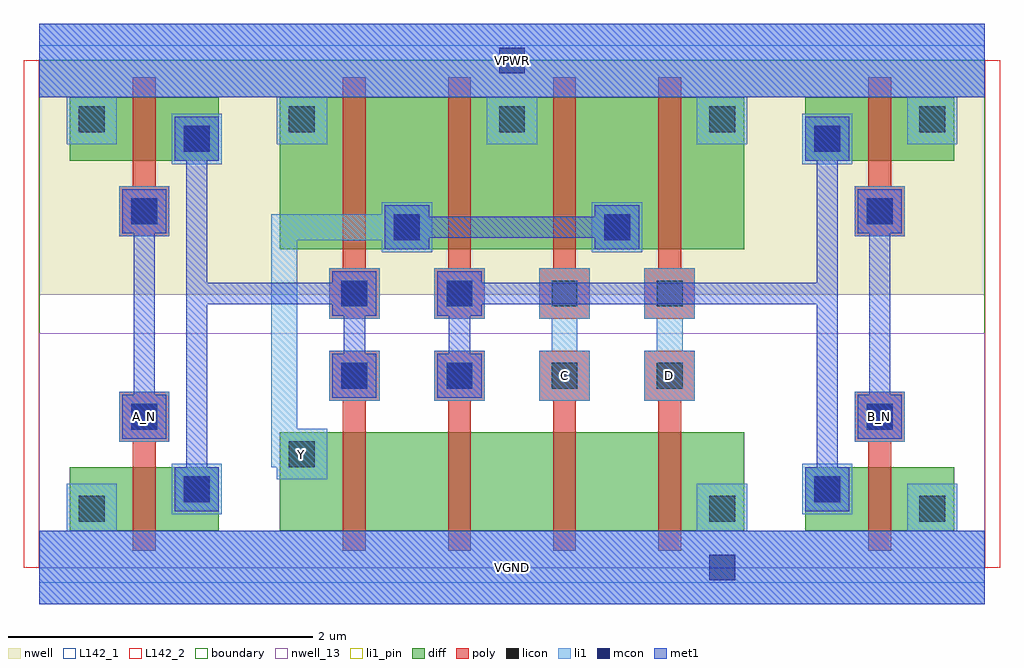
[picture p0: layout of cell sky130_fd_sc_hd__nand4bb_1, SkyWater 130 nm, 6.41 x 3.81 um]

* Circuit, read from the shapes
.subckt sky130_fd_sc_hd__nand4bb_1 A_N B_N C D VGND VPWR Y
XM1 n1 A_N VGND VSUBS sky130_fd_pr__nfet_01v8 w=0.42 l=0.15
XM2 n2 n1 Y VSUBS sky130_fd_pr__nfet_01v8 w=0.65 l=0.15
XM3 n3 n4 n2 VSUBS sky130_fd_pr__nfet_01v8 w=0.65 l=0.15
XM4 n5 C n3 VSUBS sky130_fd_pr__nfet_01v8 w=0.65 l=0.15
XM5 VGND D n5 VSUBS sky130_fd_pr__nfet_01v8 w=0.65 l=0.15
XM6 VGND B_N n4 VSUBS sky130_fd_pr__nfet_01v8 w=0.42 l=0.15
XM7 n1 A_N VPWR n6 sky130_fd_pr__pfet_01v8 w=0.42 l=0.15
XM8 Y n1 VPWR n6 sky130_fd_pr__pfet_01v8 w=1 l=0.15
XM9 VPWR n4 Y n6 sky130_fd_pr__pfet_01v8 w=1 l=0.15
XM10 Y C VPWR n6 sky130_fd_pr__pfet_01v8 w=1 l=0.15
XM11 VPWR D Y n6 sky130_fd_pr__pfet_01v8 w=1 l=0.15
XM12 VPWR B_N n4 n6 sky130_fd_pr__pfet_01v8 w=0.42 l=0.15
.ends

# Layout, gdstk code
import gdstk
lib = gdstk.Library(unit=1e-6, precision=1e-09)
def R(c, l, rs):  # rectangles x0, y0, x1, y1
    for r in rs: c.add(gdstk.rectangle(r[:2], r[2:], *l))
def A(c, l, x, y, w, h, nx, ny, dx, dy):  # array of equal rectangles
    R(c, l, [(x+i*dx, y+j*dy, x+i*dx+w, y+j*dy+h) for i in range(nx) for j in range(ny)])
def P(c, l, *ps):  # polygons
    for p in ps: c.add(gdstk.Polygon(p, *l))
nwell_13 = (64, 13)
nwell = (64, 20)
diff = (65, 20)
poly = (66, 20)
licon = (66, 44)
li1_pin = (67, 16)
li1 = (67, 20)
mcon = (67, 44)
met1 = (68, 20)
L142_1 = (142, 1)
L142_2 = (142, 2)
boundary = (235, 4)

sky130_fd_sc_hd__nand4bb = lib.new_cell('sky130_fd_sc_hd__nand4bb_1')
R(sky130_fd_sc_hd__nand4bb, nwell_13, [(0,0,6.21,1.54)])
R(sky130_fd_sc_hd__nand4bb, nwell, [(0,1.79,6.21,3.33)])
A(sky130_fd_sc_hd__nand4bb, diff, 1.995, 0.24, 0.69, 0.65, 3, 1, 0.69, 0)
A(sky130_fd_sc_hd__nand4bb, diff, 1.995, 2.09, 0.69, 1, 3, 1, 0.69, 0)
R(sky130_fd_sc_hd__nand4bb, diff, [(0.2,0.24,1.18,0.66), (0.2,0.24,0.615,0.66), (0.615,0.24,1.18,0.66), (1.58,0.24,4.63,0.89), (1.58,0.24,1.995,0.89), (4.065,0.24,4.63,0.89), (5.03,0.24,6.01,0.66), (5.03,0.24,5.445,0.66), (5.445,0.24,6.01,0.66), (1.58,2.09,4.63,3.09), (1.58,2.09,1.995,3.09), (4.065,2.09,4.63,3.09), (0.2,2.67,1.18,3.09), (0.2,2.67,0.615,3.09), (0.615,2.67,1.18,3.09), (5.03,2.67,6.01,3.09), (5.03,2.67,5.445,3.09), (5.445,2.67,6.01,3.09)])
P(sky130_fd_sc_hd__nand4bb, poly, [(2.685,0.11),(2.685,1.095),(2.595,1.095),(2.595,1.425),(2.925,1.425),(2.925,1.095),(2.835,1.095),(2.835,0.11)],
  [(2.595,1.635),(2.595,1.965),(2.685,1.965),(2.685,3.22),(2.835,3.22),(2.835,1.965),(2.925,1.965),(2.925,1.635)],
  [(5.445,0.11),(5.445,0.825),(5.355,0.825),(5.355,1.155),(5.685,1.155),(5.685,0.825),(5.595,0.825),(5.595,0.11)],
  [(5.355,2.175),(5.355,2.505),(5.445,2.505),(5.445,3.22),(5.595,3.22),(5.595,2.505),(5.685,2.505),(5.685,2.175)],
  [(4.065,0.11),(4.065,1.095),(3.975,1.095),(3.975,1.425),(4.305,1.425),(4.305,1.095),(4.215,1.095),(4.215,0.11)],
  [(3.975,1.635),(3.975,1.965),(4.065,1.965),(4.065,3.22),(4.215,3.22),(4.215,1.965),(4.305,1.965),(4.305,1.635)],
  [(0.615,0.11),(0.615,0.825),(0.525,0.825),(0.525,1.155),(0.855,1.155),(0.855,0.825),(0.765,0.825),(0.765,0.11)],
  [(0.525,2.175),(0.525,2.505),(0.615,2.505),(0.615,3.22),(0.765,3.22),(0.765,2.505),(0.855,2.505),(0.855,2.175)],
  [(3.375,0.11),(3.375,1.095),(3.285,1.095),(3.285,1.425),(3.615,1.425),(3.615,1.095),(3.525,1.095),(3.525,0.11)],
  [(3.285,1.635),(3.285,1.965),(3.375,1.965),(3.375,3.22),(3.525,3.22),(3.525,1.965),(3.615,1.965),(3.615,1.635)],
  [(1.995,0.11),(1.995,1.095),(1.905,1.095),(1.905,1.425),(2.235,1.425),(2.235,1.095),(2.145,1.095),(2.145,0.11)],
  [(1.905,1.635),(1.905,1.965),(1.995,1.965),(1.995,3.22),(2.145,3.22),(2.145,1.965),(2.235,1.965),(2.235,1.635)])
A(sky130_fd_sc_hd__nand4bb, licon, 1.985, 1.175, 0.17, 0.17, 4, 2, 0.69, 0.54)
A(sky130_fd_sc_hd__nand4bb, licon, 0.26, 2.86, 0.17, 0.17, 5, 1, 1.38, 0)
R(sky130_fd_sc_hd__nand4bb, licon, [(0.26,0.3,0.43,0.47), (4.4,0.3,4.57,0.47), (5.78,0.3,5.95,0.47), (0.95,0.43,1.12,0.6), (5.09,0.43,5.26,0.6), (1.64,0.66,1.81,0.83), (0.605,0.905,0.775,1.075), (5.435,0.905,5.605,1.075), (2.33,2.15,2.5,2.32), (3.71,2.15,3.88,2.32), (0.605,2.255,0.775,2.425), (5.435,2.255,5.605,2.425), (0.95,2.73,1.12,2.9), (5.09,2.73,5.26,2.9)])
R(sky130_fd_sc_hd__nand4bb, li1_pin, [(0,-0.24,6.21,0.24), (0.525,0.825,0.855,1.155), (5.355,0.825,5.685,1.155), (0,3.09,6.21,3.57)])
P(sky130_fd_sc_hd__nand4bb, li1_pin, [(1.56,0.58),(1.56,0.66),(1.525,0.66),(1.525,2.32),(2.25,2.32),(2.25,2.4),(2.58,2.4),(2.58,2.07),(2.25,2.07),(2.25,2.15),(1.695,2.15),(1.695,0.91),(1.89,0.91),(1.89,0.58)],
  [(3.975,1.095),(3.975,1.425),(4.055,1.425),(4.055,1.635),(3.975,1.635),(3.975,1.965),(4.305,1.965),(4.305,1.635),(4.225,1.635),(4.225,1.425),(4.305,1.425),(4.305,1.095)],
  [(3.285,1.095),(3.285,1.425),(3.365,1.425),(3.365,1.635),(3.285,1.635),(3.285,1.965),(3.615,1.965),(3.615,1.635),(3.535,1.635),(3.535,1.425),(3.615,1.425),(3.615,1.095)])
R(sky130_fd_sc_hd__nand4bb, li1, [(0.87,0.35,1.2,0.68), (5.01,0.35,5.34,0.68), (0.525,0.825,0.855,1.155), (5.355,0.825,5.685,1.155), (1.905,1.095,2.235,1.425), (2.595,1.095,2.925,1.425), (1.905,1.635,2.235,1.965), (2.595,1.635,2.925,1.965), (3.63,2.07,3.96,2.4), (0.525,2.175,0.855,2.505), (5.355,2.175,5.685,2.505), (0.87,2.65,1.2,2.98), (5.01,2.65,5.34,2.98)])
P(sky130_fd_sc_hd__nand4bb, li1, [(1.56,0.58),(1.56,0.66),(1.525,0.66),(1.525,2.32),(2.25,2.32),(2.25,2.4),(2.58,2.4),(2.58,2.07),(2.25,2.07),(2.25,2.15),(1.695,2.15),(1.695,0.91),(1.89,0.91),(1.89,0.58)],
  [(3.975,1.095),(3.975,1.425),(4.055,1.425),(4.055,1.635),(3.975,1.635),(3.975,1.965),(4.305,1.965),(4.305,1.635),(4.225,1.635),(4.225,1.425),(4.305,1.425),(4.305,1.095)],
  [(0.18,2.78),(0.18,3.09),(0,3.09),(0,3.57),(6.21,3.57),(6.21,3.09),(6.03,3.09),(6.03,2.78),(5.7,2.78),(5.7,3.09),(4.65,3.09),(4.65,2.78),(4.32,2.78),(4.32,3.09),(3.27,3.09),(3.27,2.78),(2.94,2.78),(2.94,3.09),(1.89,3.09),(1.89,2.78),(1.56,2.78),(1.56,3.09),(0.51,3.09),(0.51,2.78)],
  [(3.285,1.095),(3.285,1.425),(3.365,1.425),(3.365,1.635),(3.285,1.635),(3.285,1.965),(3.615,1.965),(3.615,1.635),(3.535,1.635),(3.535,1.425),(3.615,1.425),(3.615,1.095)],
  [(0,-0.24),(0,0.24),(0.18,0.24),(0.18,0.55),(0.51,0.55),(0.51,0.24),(4.32,0.24),(4.32,0.55),(4.65,0.55),(4.65,0.24),(5.7,0.24),(5.7,0.55),(6.03,0.55),(6.03,0.24),(6.21,0.24),(6.21,-0.24)])
R(sky130_fd_sc_hd__nand4bb, mcon, [(4.4,-0.085,4.57,0.085), (0.95,0.43,1.12,0.6), (5.09,0.43,5.26,0.6), (0.605,0.905,0.775,1.075), (5.435,0.905,5.605,1.075), (1.985,1.175,2.155,1.345), (2.675,1.175,2.845,1.345), (1.985,1.715,2.155,1.885), (2.675,1.715,2.845,1.885), (2.33,2.15,2.5,2.32), (3.71,2.15,3.88,2.32), (0.605,2.255,0.775,2.425), (5.435,2.255,5.605,2.425), (0.95,2.73,1.12,2.9), (5.09,2.73,5.26,2.9), (3.02,3.245,3.19,3.415)])
R(sky130_fd_sc_hd__nand4bb, met1, [(0,-0.24,6.21,0.24), (0,3.09,6.21,3.57)])
P(sky130_fd_sc_hd__nand4bb, met1, [(5.03,0.37),(5.03,0.66),(5.105,0.66),(5.105,1.73),(2.905,1.73),(2.905,1.655),(2.83,1.655),(2.83,1.405),(2.905,1.405),(2.905,1.115),(2.615,1.115),(2.615,1.405),(2.69,1.405),(2.69,1.655),(2.615,1.655),(2.615,1.945),(2.905,1.945),(2.905,1.87),(5.105,1.87),(5.105,2.67),(5.03,2.67),(5.03,2.96),(5.32,2.96),(5.32,2.67),(5.245,2.67),(5.245,0.66),(5.32,0.66),(5.32,0.37)],
  [(2.27,2.09),(2.27,2.38),(2.56,2.38),(2.56,2.305),(3.65,2.305),(3.65,2.38),(3.94,2.38),(3.94,2.09),(3.65,2.09),(3.65,2.165),(2.56,2.165),(2.56,2.09)],
  [(5.375,0.845),(5.375,1.135),(5.45,1.135),(5.45,2.195),(5.375,2.195),(5.375,2.485),(5.665,2.485),(5.665,2.195),(5.59,2.195),(5.59,1.135),(5.665,1.135),(5.665,0.845)],
  [(0.545,0.845),(0.545,1.135),(0.62,1.135),(0.62,2.195),(0.545,2.195),(0.545,2.485),(0.835,2.485),(0.835,2.195),(0.76,2.195),(0.76,1.135),(0.835,1.135),(0.835,0.845)],
  [(0.89,0.37),(0.89,0.66),(0.965,0.66),(0.965,2.67),(0.89,2.67),(0.89,2.96),(1.18,2.96),(1.18,2.67),(1.105,2.67),(1.105,1.87),(1.925,1.87),(1.925,1.945),(2.215,1.945),(2.215,1.655),(2.14,1.655),(2.14,1.405),(2.215,1.405),(2.215,1.115),(1.925,1.115),(1.925,1.405),(2,1.405),(2,1.655),(1.925,1.655),(1.925,1.73),(1.105,1.73),(1.105,0.66),(1.18,0.66),(1.18,0.37)])
R(sky130_fd_sc_hd__nand4bb, L142_1, [(0,-0.1,6.21,0), (0,3.33,6.21,3.43)])
R(sky130_fd_sc_hd__nand4bb, L142_2, [(-0.1,0,0,3.33), (6.21,0,6.31,3.33)])
R(sky130_fd_sc_hd__nand4bb, boundary, [(0,0,6.21,3.33)])
sky130_fd_sc_hd__nand4bb.add(gdstk.Label('Y', (1.725,0.745), layer=67, texttype=5))
sky130_fd_sc_hd__nand4bb.add(gdstk.Label('D', (4.14,1.26), layer=67, texttype=5))
sky130_fd_sc_hd__nand4bb.add(gdstk.Label('A_N', (0.69,0.99), layer=67, texttype=5))
sky130_fd_sc_hd__nand4bb.add(gdstk.Label('C', (3.45,1.26), layer=67, texttype=5))
sky130_fd_sc_hd__nand4bb.add(gdstk.Label('B_N', (5.52,0.99), layer=67, texttype=5))
sky130_fd_sc_hd__nand4bb.add(gdstk.Label('VGND', (3.105,0), layer=67, texttype=5))
sky130_fd_sc_hd__nand4bb.add(gdstk.Label('VPWR', (3.105,3.33), layer=67, texttype=5))
sky130_fd_sc_hd__nand4bb.add(gdstk.Label('VGND', (3.105,0), layer=68, texttype=5))
sky130_fd_sc_hd__nand4bb.add(gdstk.Label('VPWR', (3.105,3.33), layer=68, texttype=5))

lib.write_gds('sky130_fd_sc_hd__nand4bb_1.gds')
